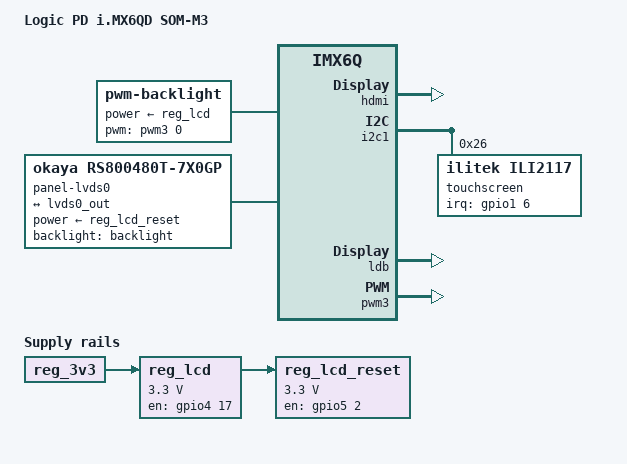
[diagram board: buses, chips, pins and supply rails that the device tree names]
// SPDX-License-Identifier: GPL-2.0
//
// Copyright (C) 2019 Logic PD, Inc.

/dts-v1/;
#include "imx6q.dtsi"
#include "imx6-logicpd-som.dtsi"
#include "imx6-logicpd-baseboard.dtsi"

/ {
	model = "Logic PD i.MX6QD SOM-M3";
	compatible = "logicpd,imx6q-logicpd", "fsl,imx6q";

	backlight: backlight-lvds {
		compatible = "pwm-backlight";
		pwms = <&pwm3 0 20000 0>;
		brightness-levels = <0 4 8 16 32 64 128 255>;
		default-brightness-level = <6>;
		power-supply = <&reg_lcd>;
	};

	panel-lvds0 {
		compatible = "okaya,rs800480t-7x0gp";
		power-supply = <&reg_lcd_reset>;
		backlight = <&backlight>;

		port {
			panel_in_lvds0: endpoint {
				remote-endpoint = <&lvds0_out>;
			};
		};
	};

	reg_lcd: regulator-lcd {
		pinctrl-names = "default";
		pinctrl-0 = <&pinctrl_lcd_reg>;
		compatible = "regulator-fixed";
		regulator-name = "lcd_panel_pwr";
		regulator-min-microvolt = <3300000>;
		regulator-max-microvolt = <3300000>;
		gpio = <&gpio4 17 GPIO_ACTIVE_HIGH>;
		enable-active-high;
		vin-supply = <&reg_3v3>;
		startup-delay-us = <500000>;
	};

	reg_lcd_reset: regulator-lcd-reset {
		pinctrl-names = "default";
		pinctrl-0 = <&pinctrl_lcd_reset>;
		compatible = "regulator-fixed";
		regulator-name = "nLCD_RESET";
		regulator-min-microvolt = <3300000>;
		regulator-max-microvolt = <3300000>;
		gpio = <&gpio5 2 GPIO_ACTIVE_HIGH>;
		enable-active-high;
		vin-supply = <&reg_lcd>;
	};
};

&clks {
	assigned-clocks = <&clks IMX6QDL_CLK_LDB_DI0_SEL>,
			  <&clks IMX6QDL_CLK_LDB_DI1_SEL>,
			  <&clks IMX6QDL_CLK_IPU1_DI0_PRE_SEL>,
			  <&clks IMX6QDL_CLK_IPU2_DI0_PRE_SEL>;
	assigned-clock-parents = <&clks IMX6QDL_CLK_PLL5_VIDEO_DIV>,
				 <&clks IMX6QDL_CLK_PLL5_VIDEO_DIV>,
				 <&clks IMX6QDL_CLK_PLL2_PFD2_396M>,
				 <&clks IMX6QDL_CLK_PLL2_PFD2_396M>;
};

&hdmi {
	ddc-i2c-bus = <&i2c3>;
	status = "okay";
};

&i2c1 {
	touchscreen@26 {
		compatible = "ilitek,ili2117";
		reg = <0x26>;
		pinctrl-names = "default";
		pinctrl-0 = <&pinctrl_touchscreen>;
		interrupts-extended = <&gpio1 6 IRQ_TYPE_EDGE_RISING>;
	};
};

&ldb {
	status = "okay";

	lvds-channel@0 {
		fsl,data-mapping = "spwg";
		fsl,data-width = <24>;
		status = "okay";

		port@4 {
			reg = <4>;
			lvds0_out: endpoint {
				remote-endpoint = <&panel_in_lvds0>;
			};
		};
	};

};

&pwm3 {
	status = "okay";
};

&reg_hdmi {
	regulator-always-on;	/* Without this, the level shifter on HDMI doesn't turn on */
};

&iomuxc {
	pinctrl_lcd_reg: lcdreggrp {
		fsl,pins = <
			MX6QDL_PAD_DI0_PIN15__GPIO4_IO17	0x100b0	/* R_LCD_PANEL_PWR */
		>;
	};

	pinctrl_lcd_reset: lcdresetgrp {
		fsl,pins = <
			MX6QDL_PAD_EIM_A25__GPIO5_IO02	0x100b0	/* LCD_nRESET */
		>;
	};

	pinctrl_touchscreen: touchscreengrp {
		fsl,pins = <
			MX6QDL_PAD_GPIO_6__GPIO1_IO06	0x1b0b0	/* TOUCH_nPINTDAV */
		>;
	};
};
